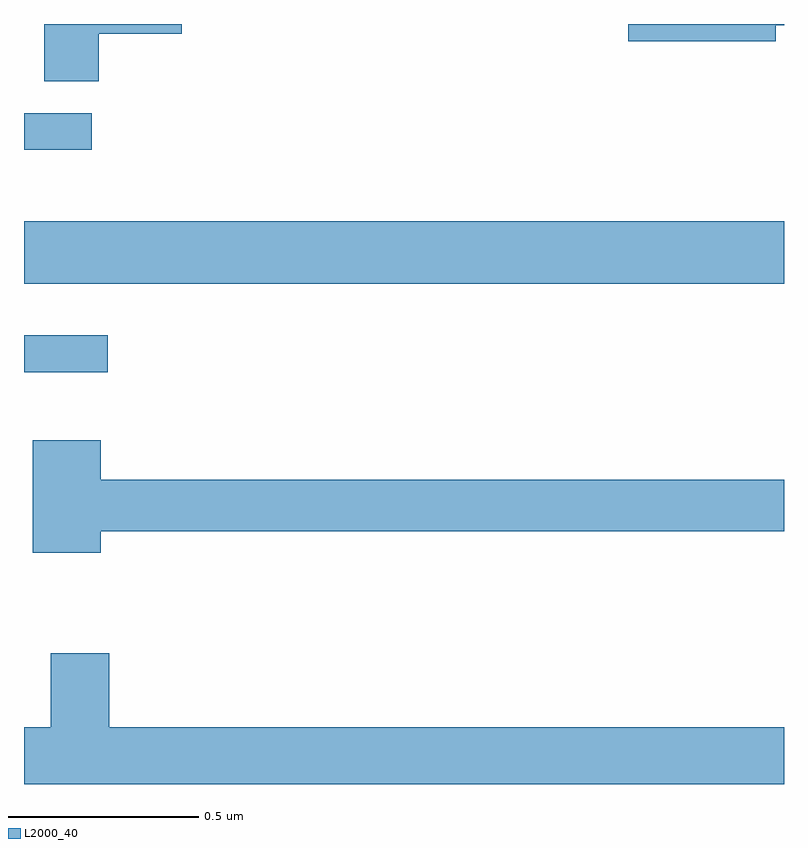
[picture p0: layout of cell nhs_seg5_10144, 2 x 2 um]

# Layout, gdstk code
import gdstk
lib = gdstk.Library(unit=1e-6, precision=1e-09)
def R(c, l, rs):  # rectangles x0, y0, x1, y1
    for r in rs: c.add(gdstk.rectangle(r[:2], r[2:], *l))
def P(c, l, *ps):  # polygons
    for p in ps: c.add(gdstk.Polygon(p, *l))
L2000_40 = (2000, 40)

nhs_seg5_10144 = lib.new_cell('nhs_seg5_10144')
R(nhs_seg5_10144, L2000_40, [(243,833.883,243.22,833.98), (243,834.116,245,834.28), (243,834.468,243.178,834.564)])
P(nhs_seg5_10144, L2000_40, [(244.978,834.796),(245,834.796),(245,834.799),(244.59,834.799),(244.59,834.754),(244.978,834.754)],
  [(243.197,834.773),(243.415,834.773),(243.415,834.799),(243.053,834.799),(243.053,834.649),(243.197,834.649)],
  [(243.202,833.464),(245,833.464),(245,833.6),(243.202,833.6),(243.202,833.704),(243.023,833.704),(243.023,833.408),(243.202,833.408)],
  [(245,832.948),(243.224,832.948),(243.224,833.143),(243.071,833.143),(243.071,832.948),(243,832.948),(243,832.799),(245,832.799)])

lib.write_gds('nhs_seg5_10144.gds')
